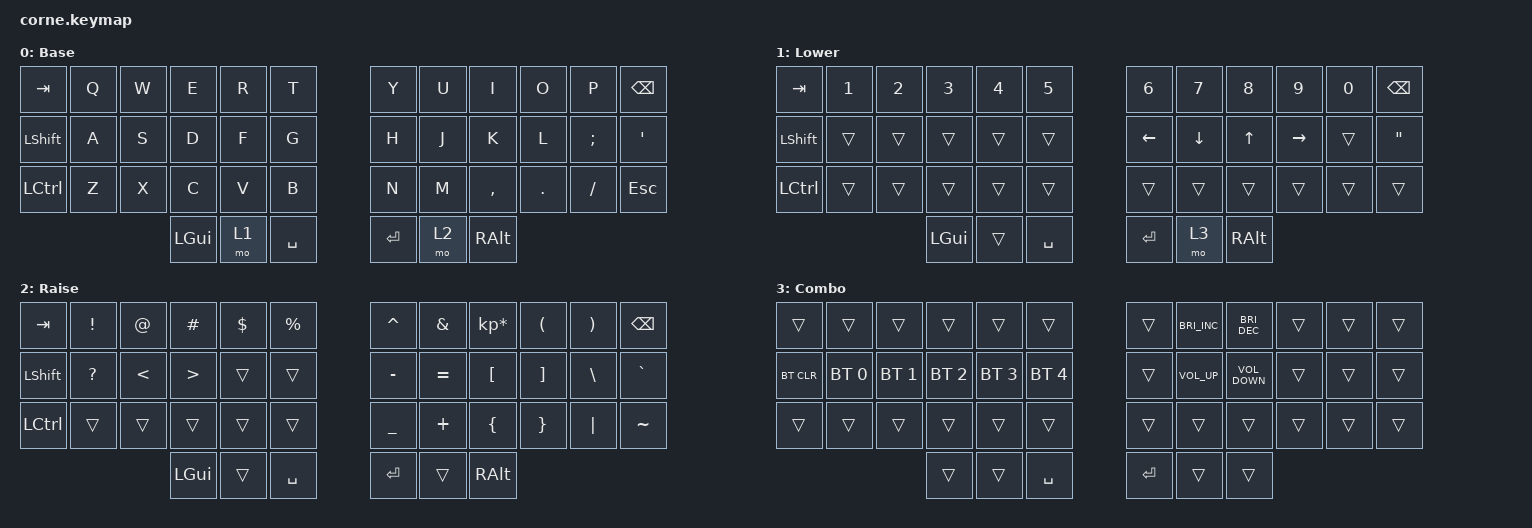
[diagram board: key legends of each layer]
/*
 * Copyright (c) 2020 The ZMK Contributors
 *
 * SPDX-License-Identifier: MIT
 */

#include <behaviors.dtsi>
#include <dt-bindings/zmk/bt.h>
#include <dt-bindings/zmk/keys.h>

/ {
    keymap {
        compatible = "zmk,keymap";

        default_layer {
            // -----------------------------------------------------------------------------------------
            // |  TAB |  Q  |  W  |  E  |  R  |  T  |   |  Y  |  U   |  I  |  O  |  P  | BKSP |
            // | CTRL |  A  |  S  |  D  |  F  |  G  |   |  H  |  J   |  K  |  L  |  ;  |  '   |
            // | SHFT |  Z  |  X  |  C  |  V  |  B  |   |  N  |  M   |  ,  |  .  |  /  | ESC  |
            //                    | GUI | LWR | SPC |   | ENT | RSE  | ALT |

            display-name = "Base";
            bindings = <
&kp TAB           &kp Q  &kp W  &kp E     &kp R  &kp T        &kp Y    &kp U  &kp I      &kp O    &kp P     &kp BSPC
&kp LEFT_SHIFT    &kp A  &kp S  &kp D     &kp F  &kp G        &kp H    &kp J  &kp K      &kp L    &kp SEMI  &kp SQT
&kp LEFT_CONTROL  &kp Z  &kp X  &kp C     &kp V  &kp B        &kp N    &kp M  &kp COMMA  &kp DOT  &kp FSLH  &kp ESC
                                &kp LGUI  &mo 1  &kp SPACE    &kp RET  &mo 2  &kp RALT
            >;
        };

        lower_layer {
            // -----------------------------------------------------------------------------------------
            // |  TAB |  1  |  2  |  3  |  4  |  5  |   |  6  |  7  |  8  |  9  |  0  | BKSP |
            // | BTCLR| BT1 | BT2 | BT3 | BT4 | BT5 |   | LFT | DWN |  UP | RGT |     |      |
            // | SHFT |     |     |     |     |     |   |     |     |     |     |     |      |
            //                    | GUI |     | SPC |   | ENT |     | ALT |

            display-name = "Lower";
            bindings = <
&kp TAB           &kp N1  &kp N2  &kp N3    &kp N4  &kp N5       &kp N6    &kp N7    &kp N8    &kp N9     &kp N0  &kp BSPC
&kp LEFT_SHIFT    &trans  &trans  &trans    &trans  &trans       &kp LEFT  &kp DOWN  &kp UP    &kp RIGHT  &trans  &kp DOUBLE_QUOTES
&kp LEFT_CONTROL  &trans  &trans  &trans    &trans  &trans       &trans    &trans    &trans    &trans     &trans  &trans
                                  &kp LGUI  &trans  &kp SPACE    &kp RET   &mo 3     &kp RALT
            >;
        };

        raise_layer {
            // -----------------------------------------------------------------------------------------
            // |  TAB |  !  |  @  |  #  |  $  |  %  |   |  ^  |  &  |  *  |  (  |  )  | BKSP |
            // | CTRL |     |     |     |     |     |   |  -  |  =  |  [  |  ]  |  \  |  `   |
            // | SHFT |     |     |     |     |     |   |  _  |  +  |  {  |  }  | "|" |  ~   |
            //                    | GUI |     | SPC |   | ENT |     | ALT |

            display-name = "Raise";
            bindings = <
&kp TAB           &kp EXCL      &kp AT         &kp HASH          &kp DLLR  &kp PRCNT    &kp CARET  &kp AMPS   &kp KP_MULTIPLY  &kp LPAR  &kp RPAR  &kp BSPC
&kp LEFT_SHIFT    &kp QUESTION  &kp LESS_THAN  &kp GREATER_THAN  &trans    &trans       &kp MINUS  &kp EQUAL  &kp LBKT         &kp RBKT  &kp BSLH  &kp GRAVE
&kp LEFT_CONTROL  &trans        &trans         &trans            &trans    &trans       &kp UNDER  &kp PLUS   &kp LBRC         &kp RBRC  &kp PIPE  &kp TILDE
                                               &kp LGUI          &trans    &kp SPACE    &kp RET    &trans     &kp RALT
            >;
        };

        Combo_layers {
            bindings = <
&trans      &trans        &trans        &trans        &trans        &trans          &trans     &kp C_BRIGHTNESS_INC  &kp C_BRIGHTNESS_DEC  &trans  &trans  &trans
&bt BT_CLR  &bt BT_SEL 0  &bt BT_SEL 1  &bt BT_SEL 2  &bt BT_SEL 3  &bt BT_SEL 4    &trans     &kp K_VOLUME_UP       &kp K_VOLUME_DOWN     &trans  &trans  &trans
&trans      &trans        &trans        &trans        &trans        &trans          &trans     &trans                &trans                &trans  &trans  &trans
                                        &trans        &trans        &kp SPACE       &kp ENTER  &trans                &trans
            >;

            label = "Combo";
        };
    };
};
